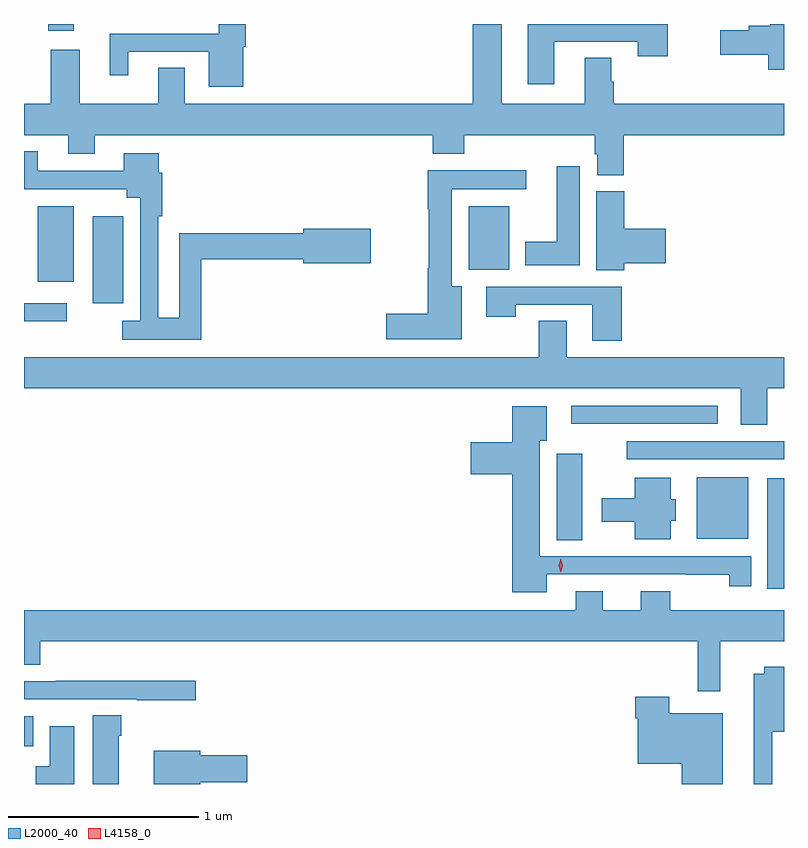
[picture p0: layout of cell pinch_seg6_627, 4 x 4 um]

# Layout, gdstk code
import gdstk
lib = gdstk.Library(unit=1e-6, precision=1e-09)
def R(c, l, rs):  # rectangles x0, y0, x1, y1
    for r in rs: c.add(gdstk.rectangle(r[:2], r[2:], *l))
def P(c, l, *ps):  # polygons
    for p in ps: c.add(gdstk.Polygon(p, *l))
L2000_40 = (2000, 40)
L4158_0 = (4158, 0)

pinch_seg6_627 = lib.new_cell('pinch_seg6_627')
R(pinch_seg6_627, L2000_40, [(388.333,945.452,388.381,945.61), (392.246,946.28,392.333,946.861), (391.136,946.537,391.27,946.99), (391.874,946.544,392.146,946.867), (391.506,946.962,392.333,947.058), (391.212,947.148,391.984,947.244), (388.333,947.688,388.558,947.784), (388.694,947.783,388.855,948.241), (388.406,947.897,388.594,948.295), (390.674,947.96,390.886,948.295), (388.46,949.218,388.594,949.253)])
P(pinch_seg6_627, L2000_40, [(391.49,948.668),(392.333,948.668),(392.333,948.832),(391.436,948.832),(391.436,948.948),(391.423,948.948),(391.423,949.075),(391.283,949.075),(391.283,948.832),(390.847,948.832),(390.847,949.253),(390.695,949.253),(390.695,948.832),(389.179,948.832),(389.179,949.022),(389.039,949.022),(389.039,948.832),(388.627,948.832),(388.627,949.117),(388.475,949.117),(388.475,948.832),(388.333,948.832),(388.333,948.668),(388.565,948.668),(388.565,948.569),(388.705,948.569),(388.705,948.668),(390.485,948.668),(390.485,948.569),(390.65,948.569),(390.65,948.668),(391.337,948.668),(391.337,948.567),(391.349,948.567),(391.349,948.457),(391.49,948.457)],
  [(392.333,949.253),(392.261,949.253),(392.261,949.243),(392.147,949.243),(392.147,949.221),(391.998,949.221),(391.998,949.091),(392.249,949.091),(392.249,949.011),(392.333,949.011)],
  [(389.488,949.134),(389.501,949.134),(389.501,949.253),(389.358,949.253),(389.358,949.203),(388.784,949.203),(388.784,948.984),(388.882,948.984),(388.882,949.107),(389.306,949.107),(389.306,948.923),(389.488,948.923)],
  [(391.123,949.16),(391.562,949.16),(391.562,949.083),(391.72,949.083),(391.72,949.253),(390.983,949.253),(390.983,948.936),(391.123,948.936)],
  [(389.267,948.016),(389.804,948.016),(389.804,947.993),(390.157,947.993),(390.157,948.176),(389.804,948.176),(389.804,948.152),(389.151,948.152),(389.151,947.708),(389.04,947.708),(389.04,948.242),(389.06,948.242),(389.06,948.47),(389.041,948.47),(389.041,948.574),(388.859,948.574),(388.859,948.48),(388.405,948.48),(388.405,948.583),(388.333,948.583),(388.333,948.384),(388.874,948.384),(388.874,948.338),(388.944,948.338),(388.944,947.692),(388.851,947.692),(388.851,947.592),(389.267,947.592)],
  [(391.258,948.505),(391.136,948.505),(391.136,948.106),(390.971,948.106),(390.971,947.984),(391.258,947.984)],
  [(390.637,947.872),(390.583,947.872),(390.583,948.384),(390.976,948.384),(390.976,948.482),(390.458,948.482),(390.458,948.277),(390.463,948.277),(390.463,947.968),(390.458,947.968),(390.458,947.729),(390.24,947.729),(390.24,947.594),(390.637,947.594)],
  [(391.493,947.993),(391.711,947.993),(391.711,948.176),(391.493,948.176),(391.493,948.372),(391.346,948.372),(391.346,947.956),(391.493,947.956)],
  [(391.478,947.871),(390.765,947.871),(390.765,947.712),(390.921,947.712),(390.921,947.775),(391.325,947.775),(391.325,947.586),(391.478,947.586)],
  [(392.245,947.336),(392.333,947.336),(392.333,947.5),(391.189,947.5),(391.189,947.69),(391.042,947.69),(391.042,947.5),(388.333,947.5),(388.333,947.336),(392.105,947.336),(392.105,947.143),(392.245,947.143)],
  [(391.084,946.356),(391.816,946.356),(391.816,946.355),(392.044,946.355),(392.044,946.293),(392.161,946.293),(392.161,946.452),(391.048,946.452),(391.048,947.06),(391.084,947.06),(391.084,947.242),(390.902,947.242),(390.902,947.053),(390.684,947.053),(390.684,946.883),(390.902,946.883),(390.902,946.262),(391.084,946.262)],
  [(391.738,946.638),(391.762,946.638),(391.762,946.752),(391.738,946.752),(391.738,946.864),(391.547,946.864),(391.547,946.756),(391.374,946.756),(391.374,946.634),(391.547,946.634),(391.547,946.541),(391.738,946.541)],
  [(391.998,946.004),(392.333,946.004),(392.333,946.168),(391.733,946.168),(391.733,946.267),(391.58,946.267),(391.58,946.168),(391.378,946.168),(391.378,946.267),(391.238,946.267),(391.238,946.168),(388.333,946.168),(388.333,945.88),(388.418,945.88),(388.418,946.004),(391.879,946.004),(391.879,945.741),(391.998,945.741)],
  [(392.271,945.527),(392.333,945.527),(392.333,945.871),(392.228,945.871),(392.228,945.832),(392.174,945.832),(392.174,945.253),(392.271,945.253)],
  [(389.236,945.797),(388.501,945.797),(388.501,945.795),(388.333,945.795),(388.333,945.699),(388.927,945.699),(388.927,945.694),(389.236,945.694)],
  [(392.011,945.625),(391.728,945.625),(391.728,945.712),(391.55,945.712),(391.55,945.599),(391.562,945.599),(391.562,945.359),(391.796,945.359),(391.796,945.253),(392.011,945.253)],
  [(388.831,945.506),(388.844,945.506),(388.844,945.614),(388.694,945.614),(388.694,945.253),(388.831,945.253)],
  [(388.597,945.556),(388.469,945.556),(388.469,945.346),(388.395,945.346),(388.395,945.253),(388.597,945.253)],
  [(389.26,945.262),(389.509,945.262),(389.509,945.404),(389.26,945.404),(389.26,945.427),(389.015,945.427),(389.015,945.253),(389.26,945.253)])
P(pinch_seg6_627, L4158_0, [(391.158,946.367),(391.158,946.367),(391.148,946.403),(391.158,946.439),(391.158,946.439),(391.158,946.439),(391.168,946.403),(391.158,946.367)])

lib.write_gds('pinch_seg6_627.gds')
